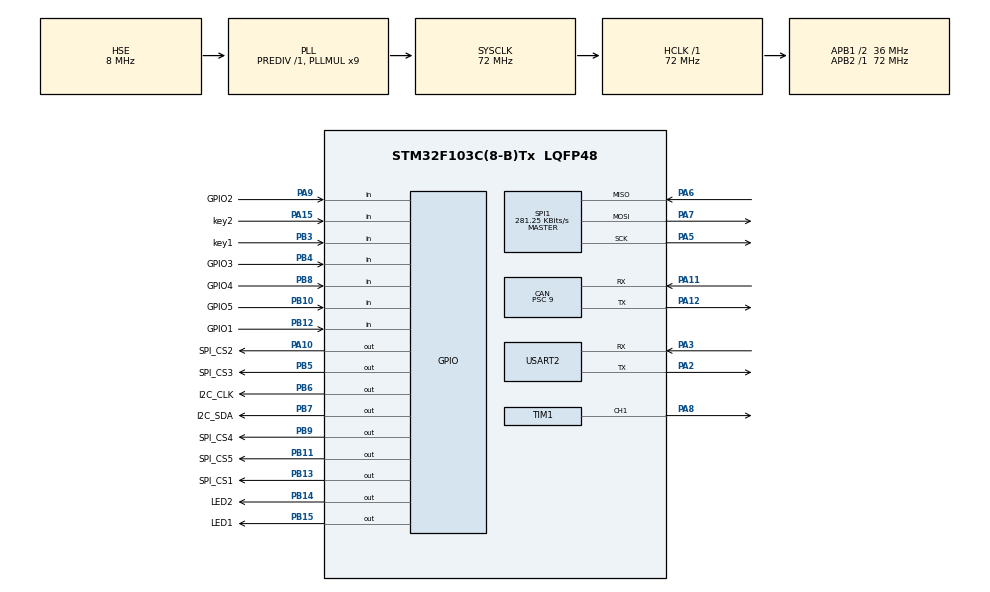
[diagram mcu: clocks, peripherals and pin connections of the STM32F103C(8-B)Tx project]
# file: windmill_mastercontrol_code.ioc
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CAN.BS1=CAN_BS1_2TQ
CAN.CalculateBaudRate=1000000
CAN.CalculateTimeBit=1000
CAN.CalculateTimeQuantum=250.0
CAN.Prescaler=9
Dma.Request0=TIM1_CH1
Dma.TIM1_CH1.0.Direction=DMA_MEMORY_TO_PERIPH
Dma.TIM1_CH1.0.Instance=DMA1_Channel2
Dma.TIM1_CH1.0.MemDataAlignment=DMA_MDATAALIGN_HALFWORD
Dma.TIM1_CH1.0.MemInc=DMA_MINC_ENABLE
Dma.TIM1_CH1.0.Mode=DMA_CIRCULAR
Dma.TIM1_CH1.0.PeriphDataAlignment=DMA_PDATAALIGN_HALFWORD
Dma.TIM1_CH1.0.PeriphInc=DMA_PINC_DISABLE
Dma.TIM1_CH1.0.Priority=DMA_PRIORITY_LOW
Mcu.Family=STM32F1
Mcu.Name=STM32F103C(8-B)Tx
Mcu.Package=LQFP48
NVIC.DMA1_Channel2_IRQn=true\:0\:0\:false\:false\:true\:false\:true\:true
NVIC.PriorityGroup=NVIC_PRIORITYGROUP_4
NVIC.TIM3_IRQn=true\:0\:0\:false\:false\:true\:true\:true\:true
NVIC.USART2_IRQn=true\:0\:0\:false\:false\:true\:true\:true\:true
NVIC.USB_LP_CAN1_RX0_IRQn=true\:0\:0\:false\:false\:true\:true\:true\:true
PA10.GPIO_Label=SPI_CS2
PA10.Signal=GPIO_Output
PA11.Mode=CAN_Activate
PA11.Signal=CAN_RX
PA12.Mode=CAN_Activate
PA12.Signal=CAN_TX
PA13.Mode=Serial_Wire
PA13.Signal=SYS_JTMS-SWDIO
PA14.Mode=Serial_Wire
PA14.Signal=SYS_JTCK-SWCLK
PA15.GPIO_Label=key2
PA15.Signal=GPIO_Input
PA2.Mode=Asynchronous
PA2.Signal=USART2_TX
PA3.Mode=Asynchronous
PA3.Signal=USART2_RX
PA5.Mode=Full_Duplex_Master
PA5.Signal=SPI1_SCK
PA6.Mode=Full_Duplex_Master
PA6.Signal=SPI1_MISO
PA7.Mode=Full_Duplex_Master
PA7.Signal=SPI1_MOSI
PA8.Signal=S_TIM1_CH1
PA9.GPIO_Label=GPIO2
PA9.GPIO_PuPd=GPIO_PULLUP
PA9.Signal=GPIO_Input
PB10.GPIO_Label=GPIO5
PB10.GPIO_PuPd=GPIO_PULLUP
PB10.Signal=GPIO_Input
PB11.GPIO_Label=SPI_CS5
PB11.Signal=GPIO_Output
PB12.GPIO_Label=GPIO1
PB12.GPIO_PuPd=GPIO_PULLUP
PB12.Signal=GPIO_Input
PB13.GPIO_Label=SPI_CS1
PB13.Signal=GPIO_Output
PB14.GPIO_Label=LED2
PB14.Signal=GPIO_Output
PB15.GPIO_Label=LED1
PB15.Signal=GPIO_Output
PB3.GPIO_Label=key1
PB3.Signal=GPIO_Input
PB4.GPIO_Label=GPIO3
PB4.GPIO_PuPd=GPIO_PULLUP
PB4.Signal=GPIO_Input
PB5.GPIO_Label=SPI_CS3
PB5.Signal=GPIO_Output
PB6.GPIO_Label=I2C_CLK
PB6.Signal=GPIO_Output
PB7.GPIO_Label=I2C_SDA
PB7.Signal=GPIO_Output
PB8.GPIO_Label=GPIO4
PB8.GPIO_PuPd=GPIO_PULLUP
PB8.Signal=GPIO_Input
PB9.GPIO_Label=SPI_CS4
PB9.Signal=GPIO_Output
PD0-OSC_IN.Mode=HSE-External-Oscillator
PD0-OSC_IN.Signal=RCC_OSC_IN
PD1-OSC_OUT.Mode=HSE-External-Oscillator
PD1-OSC_OUT.Signal=RCC_OSC_OUT
ProjectManager.HeapSize=0x200
ProjectManager.StackSize=0x400
ProjectManager.TargetToolchain=STM32CubeIDE
RCC.AHBFreq_Value=72000000
RCC.APB1CLKDivider=RCC_HCLK_DIV2
RCC.APB1Freq_Value=36000000
RCC.APB1TimFreq_Value=72000000
RCC.APB2Freq_Value=72000000
RCC.APB2TimFreq_Value=72000000
RCC.HCLKFreq_Value=72000000
RCC.PLLMUL=RCC_PLL_MUL9
RCC.PLLSourceVirtual=RCC_PLLSOURCE_HSE
RCC.SYSCLKFreq_VALUE=72000000
RCC.SYSCLKSource=RCC_SYSCLKSOURCE_PLLCLK
RCC.USBFreq_Value=72000000
SH.S_TIM1_CH1.0=TIM1_CH1,PWM Generation1 CH1
SPI1.BaudRatePrescaler=SPI_BAUDRATEPRESCALER_256
SPI1.CalculateBaudRate=281.25 KBits/s
SPI1.Direction=SPI_DIRECTION_2LINES
SPI1.FirstBit=SPI_FIRSTBIT_LSB
SPI1.Mode=SPI_MODE_MASTER
SPI1.VirtualType=VM_MASTER
TIM1.Channel-PWM\ Generation1\ CH1=TIM_CHANNEL_1
TIM1.Period=79
TIM3.Period=999
TIM3.Prescaler=71
TIM4.Period=45
TIM4.Prescaler=43
USART2.VirtualMode=VM_ASYNC
VP_TIM3_VS_ClockSourceINT.Mode=Internal
VP_TIM4_VS_ClockSourceINT.Mode=Internal
board=custom

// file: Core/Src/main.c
/* USER CODE BEGIN Header */
/**
 ******************************************************************************
 * @file           : main.c
 * @brief          : Main program body
 ******************************************************************************
 * @attention
 *
 * Copyright (c) 2023 STMicroelectronics.
 * All rights reserved.
 *
 * This software is licensed under terms that can be found in the LICENSE file
 * in the root directory of this software component.
 * If no LICENSE file comes with this software, it is provided AS-IS.
 *
 ******************************************************************************
 */
/* USER CODE END Header */
#include "main.h"
#include "can.h"
#include "dma.h"
#include "spi.h"
#include "tim.h"
#include "usart.h"
#include "gpio.h"

/* USER CODE BEGIN Includes */

#include "can_motor_control.h"
#include "clock.h"
#include "communication.h"
#include "fsm.h"
#include "hit_reaction.h"
#include "key.h"
#include "led.h"
#include "oled.h"
#include "bsp_uart.h"
/* USER CODE END Includes */

void SystemClock_Config(void);

/* USER CODE BEGIN 0 */

extern uint8_t rand_num_max;

/* USER CODE END 0 */

int main(void) {

    /* MCU Configuration--------------------------------------------------------*/

    /* Reset of all peripherals, Initializes the Flash interface and the Systick. */
    HAL_Init();

    /* Configure the system clock */
    SystemClock_Config();

    /* Initialize all configured peripherals */
    MX_GPIO_Init();
    MX_DMA_Init();
    MX_CAN_Init();
    MX_SPI1_Init();
    MX_TIM1_Init();
    MX_USART2_UART_Init();
    MX_TIM3_Init();
    MX_TIM4_Init();
    /* USER CODE BEGIN 2 */
    HAL_TIM_Base_Start_IT(&htim3);
    HAL_TIM_Base_Start(&htim4);

    Hit_Reaction_Init();
    CAN_Motor_Pid_Init();
    OLED_Init();
    OLED_Fill(0x00);
    SPI_CS_Init();
    /* USER CODE END 2 */

    /* Infinite loop */
    /* USER CODE BEGIN WHILE */
    uint8_t flag_key = 0;
    uint8_t fsm_state = waiting_hit;
    int flag = 1;
    Windmill_Resest();

    while (1) {
        /* USER CODE END WHILE */

        /* USER CODE BEGIN 3 */

        flag_key = Key_Enter();
        // 设置灯条的颜色
        if (flag_key == LED_KEY) {
            flag = -flag;
            if (flag == RED_FLAG) {
                SPI_Send_Color_All(spi_data[red]);
                fsm_state = reset;
                LED_TOGGLE(LED1_PIN)
            } else if (flag == BLUE_FLAG) {
                SPI_Send_Color_All(spi_data[blue]);
                fsm_state = reset;
                LED_TOGGLE(LED1_PIN)
            }
        }

        uart_IT(&fsm_state);

        // load the fsm
        FSM_Load(&fsm_state);

        // if the indicator blink, you can determine whether the program is running.
        led_twinkle(LED2_PIN);
    }

    /* USER CODE END 3 */
}

void SystemClock_Config(void) {
    RCC_OscInitTypeDef RCC_OscInitStruct = {0};
    RCC_ClkInitTypeDef RCC_ClkInitStruct = {0};

    /** Initializes the RCC Oscillators according to the specified parameters
    * in the RCC_OscInitTypeDef structure.
    */
    RCC_OscInitStruct.OscillatorType = RCC_OSCILLATORTYPE_HSE;
    RCC_OscInitStruct.HSEState = RCC_HSE_ON;
    RCC_OscInitStruct.HSEPredivValue = RCC_HSE_PREDIV_DIV1;
    RCC_OscInitStruct.HSIState = RCC_HSI_ON;
    RCC_OscInitStruct.PLL.PLLState = RCC_PLL_ON;
    RCC_OscInitStruct.PLL.PLLSource = RCC_PLLSOURCE_HSE;
    RCC_OscInitStruct.PLL.PLLMUL = RCC_PLL_MUL9;
    if (HAL_RCC_OscConfig(&RCC_OscInitStruct) != HAL_OK) {
        Error_Handler();
    }

    /** Initializes the CPU, AHB and APB buses clocks
    */
    RCC_ClkInitStruct.ClockType = RCC_CLOCKTYPE_HCLK | RCC_CLOCKTYPE_SYSCLK
                                  | RCC_CLOCKTYPE_PCLK1 | RCC_CLOCKTYPE_PCLK2;
    RCC_ClkInitStruct.SYSCLKSource = RCC_SYSCLKSOURCE_PLLCLK;
    RCC_ClkInitStruct.AHBCLKDivider = RCC_SYSCLK_DIV1;
    RCC_ClkInitStruct.APB1CLKDivider = RCC_HCLK_DIV2;
    RCC_ClkInitStruct.APB2CLKDivider = RCC_HCLK_DIV1;

    if (HAL_RCC_ClockConfig(&RCC_ClkInitStruct, FLASH_LATENCY_2) != HAL_OK) {
        Error_Handler();
    }
}

void Error_Handler(void) {
    __disable_irq();
    while (1) {
    }
}

#ifdef  USE_FULL_ASSERT
/**
  * @brief  Reports the name of the source file and the source line number
  *         where the assert_param error has occurred.
  * @param  file: pointer to the source file name
  * @param  line: assert_param error line source number
  * @retval None
  */
void assert_failed(uint8_t *file, uint32_t line)
{
  /* USER CODE BEGIN 6 */
  /* User can add his own implementation to report the file name and line
     number, ex: printf("Wrong parameters value: file %s on line %d\r\n", file,
     line) */
  /* USER CODE END 6 */
}
#endif /* USE_FULL_ASSERT */
